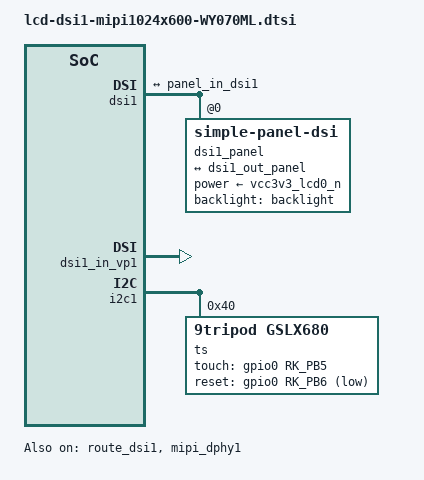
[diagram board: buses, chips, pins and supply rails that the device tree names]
/*
 * Copyright (C) 2021 9tripod, Inc.
 * arch/arm64/boot/dts/lcd-dsi1-mipi1024x600-WY070ML.dtsi
 * lcd model: wy070ml
 * resolution: 1024x600
 * mipi channel: dsi1
 */

/*
 * mipi_dphy1 needs to be enabled
 * when dsi1 is enabled
 */
&dsi1 {
	status = "okay";
	//rockchip,lane-rate = <1000>;
	dsi1_panel: panel@0 {
		status = "okay";
		compatible = "simple-panel-dsi";
		reg = <0>;
		power-supply = <&vcc3v3_lcd0_n>;
		//reset-gpios = <&gpio0 RK_PA6 GPIO_ACTIVE_LOW>;
		backlight = <&backlight>;
		reset-delay-ms = <60>;
		enable-delay-ms = <60>;
		prepare-delay-ms = <60>;
		unprepare-delay-ms = <60>;
		disable-delay-ms = <60>;
		dsi,flags = <(MIPI_DSI_MODE_VIDEO | MIPI_DSI_MODE_VIDEO_BURST |
			MIPI_DSI_MODE_LPM | MIPI_DSI_MODE_EOT_PACKET)>;
		dsi,format = <MIPI_DSI_FMT_RGB888>;
		dsi,lanes  = <4>;

		disp_timings1: display-timings {
			native-mode = <&dsi1_timing0>;
			dsi1_timing0: timing0 {
				clock-frequency = <60000000>;
				hactive = <1024>;
				vactive = <600>;
				hfront-porch = <150>;
				hsync-len = <20>;
				hback-porch = <150>;
				vfront-porch = <8>;
				vsync-len = <3>;
				vback-porch = <24>;
				hsync-active = <1>;
				vsync-active = <1>;
				de-active = <0>;
				pixelclk-active = <1>;
			};
		};

		ports {
			#address-cells = <1>;
			#size-cells = <0>;

			port@0 {
				reg = <0>;
				panel_in_dsi1: endpoint {
					remote-endpoint = <&dsi1_out_panel>;
				};
			};
		};
	};

	ports {
		#address-cells = <1>;
		#size-cells = <0>;

		port@1 {
			reg = <1>;
			dsi1_out_panel: endpoint {
				remote-endpoint = <&panel_in_dsi1>;
			};
		};
	};

};

&route_dsi1 {
	status = "okay";
	connect = <&vp1_out_dsi1>;
};

&dsi1_in_vp0 {
	status = "disabled";
};

&dsi1_in_vp1 {
	status = "okay";
};

&mipi_dphy1 {
	status = "okay";
};

&i2c1 {
	status = "okay";

	ts@40 {
		compatible = "9tripod,gslx680";
		reg = <0x40>;
		touch-gpio = <&gpio0 RK_PB5 IRQ_TYPE_EDGE_RISING>;
		reset-gpio = <&gpio0 RK_PB6 GPIO_ACTIVE_LOW>;
		max-x = <1024>;
		max-y = <600>;
	};
};

